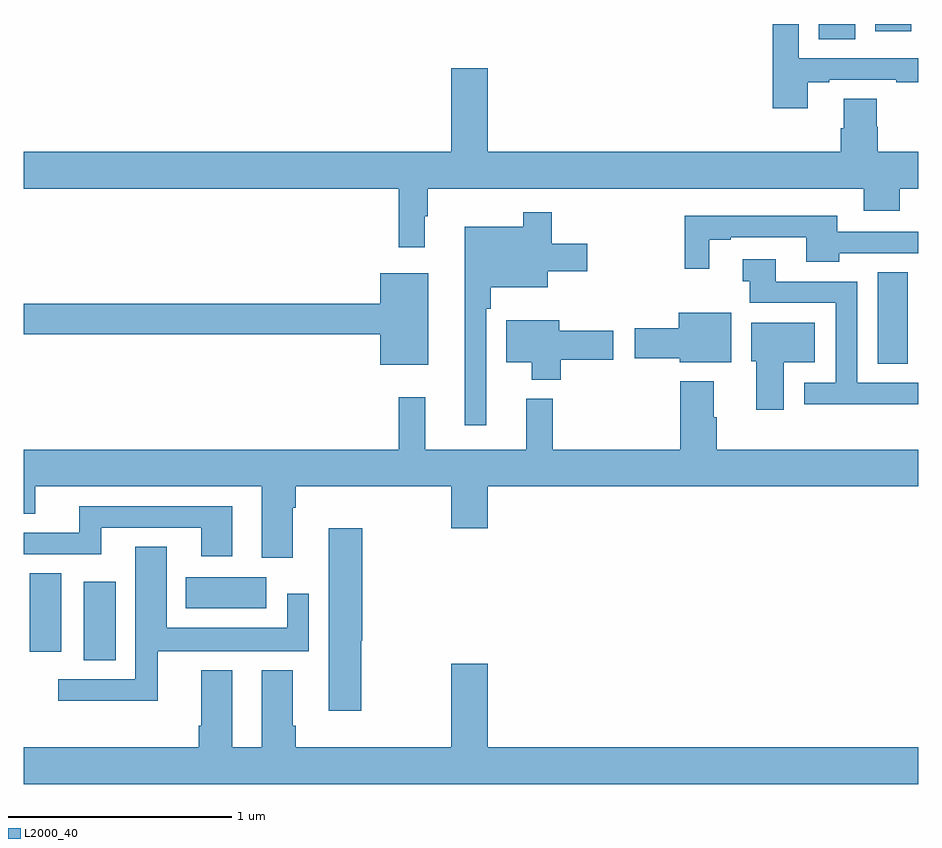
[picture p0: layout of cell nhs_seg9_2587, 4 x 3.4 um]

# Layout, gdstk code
import gdstk
lib = gdstk.Library(unit=1e-6, precision=1e-09)
def R(c, l, rs):  # rectangles x0, y0, x1, y1
    for r in rs: c.add(gdstk.rectangle(r[:2], r[2:], *l))
def P(c, l, *ps):  # polygons
    for p in ps: c.add(gdstk.Polygon(p, *l))
L2000_40 = (2000, 40)

nhs_seg9_2587 = lib.new_cell('nhs_seg9_2587')
R(nhs_seg9_2587, L2000_40, [(259.268,1183.654,259.411,1184.005), (259.025,1183.692,259.168,1184.042), (259.724,1183.886,260.083,1184.026), (262.82,1184.98,262.954,1185.389), (262.556,1186.432,262.72,1186.5), (262.808,1186.467,262.969,1186.5)])
P(nhs_seg9_2587, L2000_40, [(262.507,1186.239),(262.603,1186.239),(262.603,1186.251),(262.903,1186.251),(262.903,1186.239),(263,1186.239),(263,1186.347),(262.467,1186.347),(262.467,1186.5),(262.351,1186.5),(262.351,1186.122),(262.507,1186.122)],
  [(260.794,1185.641),(260.806,1185.641),(260.806,1185.764),(262.757,1185.764),(262.757,1185.665),(262.917,1185.665),(262.917,1185.764),(263,1185.764),(263,1185.928),(262.82,1185.928),(262.82,1186.041),(262.815,1186.041),(262.815,1186.166),(262.667,1186.166),(262.667,1186.034),(262.655,1186.034),(262.655,1185.928),(261.076,1185.928),(261.076,1186.303),(260.912,1186.303),(260.912,1185.928),(259,1185.928),(259,1185.764),(260.677,1185.764),(260.677,1185.501),(260.794,1185.501)],
  [(261.069,1185.227),(261.089,1185.227),(261.089,1185.323),(261.343,1185.323),(261.343,1185.395),(261.52,1185.395),(261.52,1185.517),(261.362,1185.517),(261.362,1185.658),(261.234,1185.658),(261.234,1185.592),(260.972,1185.592),(260.972,1184.706),(261.069,1184.706)],
  [(262.066,1185.534),(262.162,1185.534),(262.162,1185.546),(262.499,1185.546),(262.499,1185.437),(262.647,1185.437),(262.647,1185.474),(263,1185.474),(263,1185.57),(262.639,1185.57),(262.639,1185.642),(261.957,1185.642),(261.957,1185.405),(262.066,1185.405)],
  [(263,1184.895),(262.728,1184.895),(262.728,1185.348),(262.363,1185.348),(262.363,1185.447),(262.215,1185.447),(262.215,1185.35),(262.246,1185.35),(262.246,1185.252),(262.632,1185.252),(262.632,1184.895),(262.491,1184.895),(262.491,1184.798),(263,1184.798)],
  [(260.809,1185.385),(260.594,1185.385),(260.594,1185.248),(259,1185.248),(259,1185.112),(260.594,1185.112),(260.594,1184.975),(260.809,1184.975)],
  [(262.165,1185.208),(261.929,1185.208),(261.929,1185.14),(261.732,1185.14),(261.732,1185.005),(261.933,1185.005),(261.933,1184.987),(262.165,1184.987)],
  [(261.402,1184.998),(261.637,1184.998),(261.637,1185.127),(261.394,1185.127),(261.394,1185.175),(261.158,1185.175),(261.158,1184.987),(261.272,1184.987),(261.272,1184.909),(261.402,1184.909)],
  [(262.399,1184.987),(262.537,1184.987),(262.537,1185.163),(262.253,1185.163),(262.253,1184.991),(262.277,1184.991),(262.277,1184.775),(262.399,1184.775)],
  [(260.203,1184.336),(260.216,1184.336),(260.216,1184.432),(260.912,1184.432),(260.912,1184.244),(261.076,1184.244),(261.076,1184.432),(263,1184.432),(263,1184.596),(262.1,1184.596),(262.1,1184.741),(262.087,1184.741),(262.087,1184.902),(261.935,1184.902),(261.935,1184.596),(261.365,1184.596),(261.365,1184.824),(261.248,1184.824),(261.248,1184.596),(260.795,1184.596),(260.795,1184.83),(260.677,1184.83),(260.677,1184.596),(259,1184.596),(259,1184.308),(259.051,1184.308),(259.051,1184.432),(260.063,1184.432),(260.063,1184.112),(260.203,1184.112)],
  [(259.933,1184.343),(259.247,1184.343),(259.247,1184.223),(259,1184.223),(259,1184.127),(259.345,1184.127),(259.345,1184.247),(259.793,1184.247),(259.793,1184.118),(259.933,1184.118)],
  [(260.508,1183.74),(260.513,1183.74),(260.513,1184.245),(260.363,1184.245),(260.363,1183.428),(260.508,1183.428)],
  [(259.598,1183.694),(260.274,1183.694),(260.274,1183.951),(260.178,1183.951),(260.178,1183.798),(259.639,1183.798),(259.639,1184.162),(259.499,1184.162),(259.499,1183.569),(259.154,1183.569),(259.154,1183.472),(259.598,1183.472)],
  [(263,1183.264),(261.076,1183.264),(261.076,1183.639),(260.912,1183.639),(260.912,1183.264),(260.216,1183.264),(260.216,1183.36),(260.203,1183.36),(260.203,1183.609),(260.063,1183.609),(260.063,1183.264),(259.933,1183.264),(259.933,1183.609),(259.793,1183.609),(259.793,1183.36),(259.781,1183.36),(259.781,1183.264),(259,1183.264),(259,1183.1),(263,1183.1)])

lib.write_gds('nhs_seg9_2587.gds')
